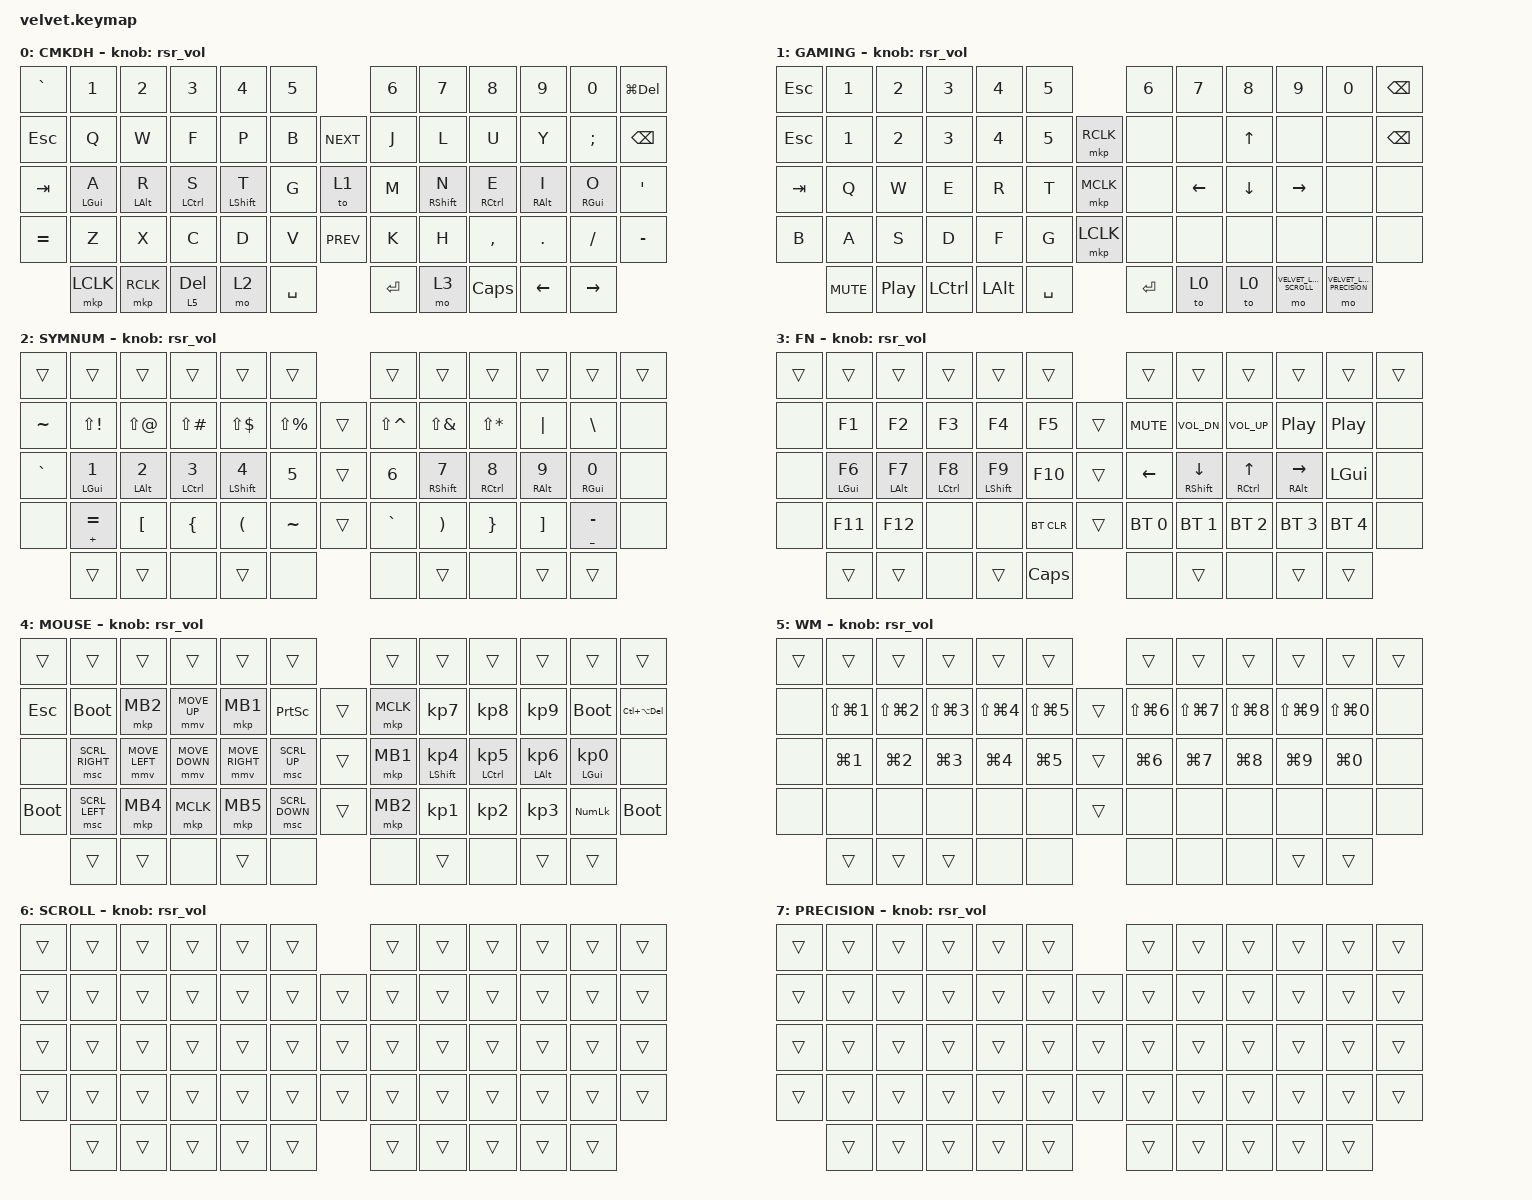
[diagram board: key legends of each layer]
/*
 * Corne Colemak-DH port. Only key behaviors and pointer processing live here;
 * Velvet's matrix, pins, buses, sensor orientation and peripheral power stay in
 * boards/shields/velvet unchanged.
 */

#include "velvet-layers.h"

#define ZMK_POINTING_DEFAULT_MOVE_VAL 1200
#define ZMK_POINTING_DEFAULT_SCRL_VAL 25

#include <zephyr/dt-bindings/input/input-event-codes.h>
#include <input/processors.dtsi>
#include <behaviors/runtime-sensor-rotate.dtsi>
#include <behaviors.dtsi>
#include <dt-bindings/zmk/bt.h>
#include <dt-bindings/zmk/keys.h>
#include <dt-bindings/zmk/pointing.h>
#include "velvet-pointer.dtsi"

&mmv_input_listener { input-processors = <&zip_xy_scaler 2 1>; };

&msc_input_listener { input-processors = <&zip_scroll_scaler 2 1>; };

&msc {
    acceleration-exponent = <1>;
    time-to-max-speed-ms = <100>;
    delay-ms = <0>;
};

&mmv {
    time-to-max-speed-ms = <500>;
    acceleration-exponent = <1>;
    trigger-period-ms = <16>;
};

&mt {
    tapping-term-ms = <180>;
    quick-tap-ms = <180>;
    require-prior-idle-ms = <150>;
    flavor = "tap-preferred";
    hold-trigger-key-positions = <26 27 28 29 33 34 35 36>;
    hold-trigger-on-release;
};

/ {
    behaviors {
        mod_kp: mod_kp {
            compatible = "zmk,behavior-hold-tap";
            label = "MOD_KP";
            bindings = <&mo>, <&kp>;

            #binding-cells = <2>;
            tapping-term-ms = <130>;
            flavor = "hold-preferred";
            quick-tap-ms = <130>;
            hold-trigger-key-positions = <53 55 56 58 54 57>;
        };

        to_kp: to_kp {
            compatible = "zmk,behavior-hold-tap";
            label = "TO_KP";
            bindings = <&to>, <&kp>;

            #binding-cells = <2>;
            tapping-term-ms = <500>;
            flavor = "tap-preferred";
        };

        hml: home_row_mod_left {
            compatible = "zmk,behavior-hold-tap";
            #binding-cells = <2>;
            flavor = "balanced";
            require-prior-idle-ms = <150>;
            tapping-term-ms = <200>;
            quick-tap-ms = <175>;
            bindings = <&kp>, <&kp>;

            hold-trigger-key-positions = <32 33 34 35 36 19 20 21 22 23 45 46 47 48 49 56 57 58>; // List of keys on the right side of the keyboard
            hold-trigger-on-release;
        };

        hmr: home_row_mod_right {
            compatible = "zmk,behavior-hold-tap";
            #binding-cells = <2>;
            flavor = "balanced";
            require-prior-idle-ms = <150>;
            tapping-term-ms = <200>;
            quick-tap-ms = <175>;
            bindings = <&kp>, <&kp>;

            hold-trigger-key-positions = <14 15 16 17 27 28 29 30 40 41 42 43 13 26 39 53 54 55>; // List of keys on the left side of the keyboard
            hold-trigger-on-release;
        };

        mt_pinky: mt_pinky {
            compatible = "zmk,behavior-hold-tap";
            label = "MT_PINKY";
            bindings = <&kp>, <&kp>;

            #binding-cells = <2>;
            tapping-term-ms = <200>;
            quick-tap-ms = <180>;
            require-prior-idle-ms = <150>;
            hold-trigger-on-release;
            hold-trigger-key-positions = <26 36>;
            flavor = "tap-preferred";
        };

        rsr_vol: rsr_vol {
            compatible = "zmk,behavior-runtime-sensor-rotate";
            #sensor-binding-cells = <0>;
            tap-ms = <5>;
            cw-binding = <&kp C_VOL_UP>;
            ccw-binding = <&kp C_VOL_DN>;
        };
    };

    combos {
        compatible = "zmk,combos";

        /* Keep Velvet's existing bootloader chord on the extra number row. */

        flash {
            bindings = <&bootloader>;
            key-positions = <0 11>;
        };

        mousemiddle {
            bindings = <&mkp MCLK>;
            key-positions = <51 52>;
        };
    };

    keymap {
        compatible = "zmk,keymap";

        layer_0 {
            display-name = "CMKDH";
            bindings = <
&kp GRAVE  &kp N1       &kp N2       &kp N3            &kp N4         &kp N5                 &kp N6     &kp N7         &kp N8        &kp N9          &kp N0       &kp LG(DELETE)
&kp ESC    &kp Q        &kp W        &kp F             &kp P          &kp B      &kp K_NEXT  &kp J      &kp L          &kp U         &kp Y           &kp SEMI     &kp BACKSPACE
&kp TAB    &hml LGUI A  &hml LALT R  &hml LCTRL S      &hml LSHIFT T  &kp G      &to 1       &kp M      &hmr RSHIFT N  &hmr RCTRL E  &hmr RALT I     &hmr RGUI O  &kp SINGLE_QUOTE
&kp EQUAL  &kp Z        &kp X        &kp C             &kp D          &kp V      &kp K_PREV  &kp K      &kp H          &kp COMMA     &kp DOT         &kp SLASH    &kp MINUS
           &mkp LCLK    &mkp RCLK    &mod_kp 5 DELETE  &mo 2          &kp SPACE              &kp ENTER  &mo 3          &kp CAPS      &kp LEFT_ARROW  &kp RIGHT
            >;

            sensor-bindings = <&rsr_vol>;
        };

        layer_1 {
            display-name = "GAMING";
            bindings = <
&kp ESC  &kp N1      &kp N2        &kp N3        &kp N4        &kp N5                &kp N6     &kp N7    &kp N8        &kp N9                   &kp N0                      &kp BACKSPACE
&kp ESC  &kp N1      &kp NUMBER_2  &kp NUMBER_3  &kp NUMBER_4  &kp N5     &mkp RCLK  &none      &none     &kp UP_ARROW  &none                    &none                       &kp BACKSPACE
&kp TAB  &kp Q       &kp W         &kp E         &kp R         &kp T      &mkp MCLK  &none      &kp LEFT  &kp DOWN      &kp RIGHT                &none                       &none
&kp B    &kp A       &kp S         &kp D         &kp F         &kp G      &mkp LCLK  &none      &none     &none         &none                    &none                       &none
         &kp C_MUTE  &kp C_PP      &kp LCTRL     &kp LEFT_ALT  &kp SPACE             &kp ENTER  &to 0     &to 0         &mo VELVET_LAYER_SCROLL  &mo VELVET_LAYER_PRECISION
            >;

            sensor-bindings = <&rsr_vol>;
        };

        layer_2 {
            display-name = "SYMNUM";
            bindings = <
&trans     &trans          &trans        &trans         &trans          &trans                 &trans         &trans          &trans         &trans        &trans                &trans
&kp TILDE  &kp LS(EXCL)    &kp LS(AT)    &kp LS(POUND)  &kp LS(DLLR)    &kp LS(PRCNT)  &trans  &kp LS(CARET)  &kp LS(AMPS)    &kp LS(STAR)   &kp PIPE      &kp BSLH              &none
&kp GRAVE  &hml LGUI N1    &hml LALT N2  &hml LCTRL N3  &hml LSHIFT N4  &kp N5         &trans  &kp N6         &hmr RSHIFT N7  &hmr RCTRL N8  &hmr RALT N9  &hmr RGUI N0          &none
&none      &mt PLUS EQUAL  &kp LBKT      &kp LBRC       &kp LPAR        &kp TILDE      &trans  &kp GRAVE      &kp RPAR        &kp RBRC       &kp RBKT      &mt UNDERSCORE MINUS  &none
           &trans          &trans        &none          &trans          &none                  &none          &trans          &none          &trans        &trans
            >;

            sensor-bindings = <&rsr_vol>;
        };

        layer_3 {
            display-name = "FN";
            bindings = <
&trans  &trans        &trans        &trans         &trans          &trans              &trans        &trans            &trans         &trans            &trans        &trans
&none   &kp F1        &kp F2        &kp F3         &kp F4          &kp F5      &trans  &kp C_MUTE    &kp C_VOL_DN      &kp C_VOL_UP   &kp C_PLAY_PAUSE  &kp C_PP      &none
&none   &hml LGUI F6  &hml LALT F7  &hml LCTRL F8  &hml LSHIFT F9  &kp F10     &trans  &kp LEFT      &hmr RSHIFT DOWN  &hmr RCTRL UP  &hmr RALT RIGHT   &kp LGUI      &none
&none   &kp F11       &kp F12       &none          &none           &bt BT_CLR  &trans  &bt BT_SEL 0  &bt BT_SEL 1      &bt BT_SEL 2   &bt BT_SEL 3      &bt BT_SEL 4  &none
        &trans        &trans        &none          &trans          &kp CAPS            &none         &trans            &none          &trans            &trans
            >;

            sensor-bindings = <&rsr_vol>;
        };

        layer_4 {
            display-name = "MOUSE";
            bindings = <
&trans       &trans           &trans          &trans          &trans           &trans                   &trans     &trans            &trans           &trans          &trans                &trans
&kp ESC      &bootloader      &mkp MB2        &mmv MOVE_UP    &mkp MB1         &kp PRINTSCREEN  &trans  &mkp MCLK  &kp KP_N7         &kp KP_N8        &kp KP_N9       &bootloader           &kp LC(LA(DELETE))
&none        &msc SCRL_RIGHT  &mmv MOVE_LEFT  &mmv MOVE_DOWN  &mmv MOVE_RIGHT  &msc SCRL_UP     &trans  &mkp MB1   &mt LSHIFT KP_N4  &mt LCTRL KP_N5  &mt LALT KP_N6  &mt_pinky LGUI KP_N0  &none
&bootloader  &msc SCRL_LEFT   &mkp MB4        &mkp MCLK       &mkp MB5         &msc SCRL_DOWN   &trans  &mkp MB2   &kp KP_N1         &kp KP_N2        &kp KP_N3       &kp KP_NUM            &bootloader
             &trans           &trans          &none           &trans           &none                    &none      &trans            &none            &trans          &trans
            >;

            sensor-bindings = <&rsr_vol>;
        };

        layer_5 {
            display-name = "WM";
            bindings = <
&trans  &trans          &trans          &trans          &trans          &trans                  &trans          &trans          &trans          &trans          &trans          &trans
&none   &kp LS(LG(N1))  &kp LS(LG(N2))  &kp LS(LG(N3))  &kp LS(LG(N4))  &kp LS(LG(N5))  &trans  &kp LS(LG(N6))  &kp LS(LG(N7))  &kp LS(LG(N8))  &kp LS(LG(N9))  &kp LS(LG(N0))  &none
&none   &kp LG(N1)      &kp LG(N2)      &kp LG(N3)      &kp LG(N4)      &kp LG(N5)      &trans  &kp LG(N6)      &kp LG(N7)      &kp LG(N8)      &kp LG(N9)      &kp LG(N0)      &none
&none   &none           &none           &none           &none           &none           &trans  &none           &none           &none           &none           &none           &none
        &trans          &trans          &trans          &none           &none                   &none           &none           &none           &trans          &trans
            >;

            sensor-bindings = <&rsr_vol>;
        };

        layer_6 {
            display-name = "SCROLL";
            bindings = <
&trans  &trans  &trans  &trans  &trans  &trans          &trans  &trans  &trans  &trans  &trans  &trans
&trans  &trans  &trans  &trans  &trans  &trans  &trans  &trans  &trans  &trans  &trans  &trans  &trans
&trans  &trans  &trans  &trans  &trans  &trans  &trans  &trans  &trans  &trans  &trans  &trans  &trans
&trans  &trans  &trans  &trans  &trans  &trans  &trans  &trans  &trans  &trans  &trans  &trans  &trans
        &trans  &trans  &trans  &trans  &trans          &trans  &trans  &trans  &trans  &trans
            >;

            sensor-bindings = <&rsr_vol>;
        };

        layer_7 {
            display-name = "PRECISION";
            bindings = <
&trans  &trans  &trans  &trans  &trans  &trans          &trans  &trans  &trans  &trans  &trans  &trans
&trans  &trans  &trans  &trans  &trans  &trans  &trans  &trans  &trans  &trans  &trans  &trans  &trans
&trans  &trans  &trans  &trans  &trans  &trans  &trans  &trans  &trans  &trans  &trans  &trans  &trans
&trans  &trans  &trans  &trans  &trans  &trans  &trans  &trans  &trans  &trans  &trans  &trans  &trans
        &trans  &trans  &trans  &trans  &trans          &trans  &trans  &trans  &trans  &trans
            >;

            sensor-bindings = <&rsr_vol>;
        };
    };

    conditional_layers {
        compatible = "zmk,conditional-layers";

        mouse_numpad {
            if-layers = <VELVET_LAYER_SYMNUM VELVET_LAYER_FN>;
            then-layer = <VELVET_LAYER_MOUSE>;
        };
    };
};
